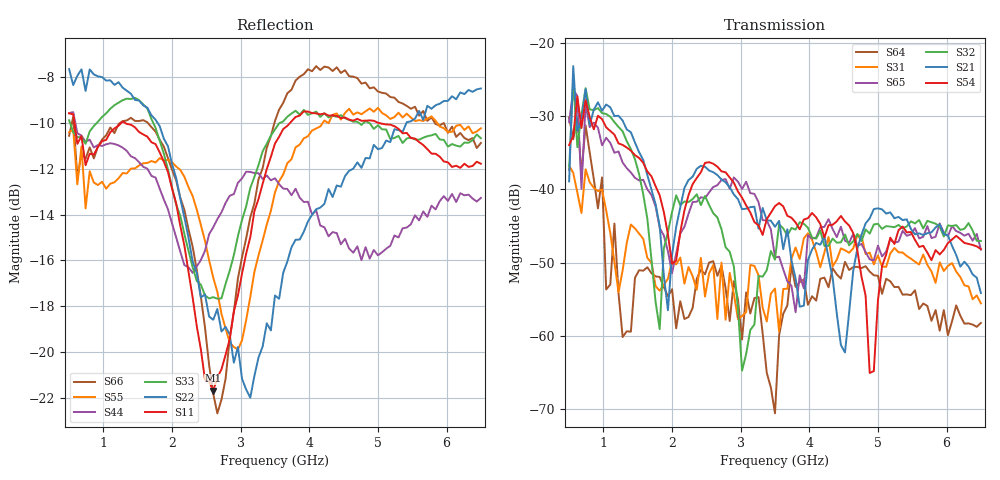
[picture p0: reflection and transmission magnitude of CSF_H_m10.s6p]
!Keysight Technologies,M9804A,MY58100912,A.14.10.03
!Date: Thursday, April 27, 2023 10:28:33
!Correction: S11(C  6-Port  )
!S12(C  6-Port  )
!S13(C  6-Port  )
!S14(C  6-Port  )
!S15(C  6-Port  )
!S16(C  6-Port  )
!S21(C  6-Port  )
!S22(C  6-Port  )
!S23(C  6-Port  )
!S24(C  6-Port  )
!S25(C  6-Port  )
!S26(C  6-Port  )
!S31(C  6-Port  )
!S32(C  6-Port  )
!S33(C  6-Port  )
!S34(C  6-Port  )
!S35(C  6-Port  )
!S36(C  6-Port  )
!S41(C  6-Port  )
!S42(C  6-Port  )
!S43(C  6-Port  )
!S44(C  6-Port  )
!S45(C  6-Port  )
!S46(C  6-Port  )
!S51(C  6-Port  )
!S52(C  6-Port  )
!S53(C  6-Port  )
!S54(C  6-Port  )
!S55(C  6-Port  )
!S56(C  6-Port  )
!S61(C  6-Port  )
!S62(C  6-Port  )
!S63(C  6-Port  )
!S64(C  6-Port  )
!S65(C  6-Port  )
!S66(C  6-Port  )
!S6P File: Measurement: :
# Hz S  RI  R 50
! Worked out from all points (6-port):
!   101 points, 500 MHz to 6.5 GHz, reference 50 ohm
!   strongest paths, dB at 500 MHz, 2 GHz, 3.5 GHz, 5 GHz, 6.5 GHz:
!     S54: -33.9, -50.2, -42.3, -55.2, -48.2
!     S21: -38.9, -48.9, -45.1, -42.6, -54.2
!     S32: -37.3, -43.1, -49.6, -44.7, -47.0
!     S65: -30.8, -51.4, -49.3, -47.7, -48.2
!     S31: -36.7, -49.8, -53.6, -49.0, -55.6
!     S64: -30.2, -53.7, -70.6, -51.8, -58.3
!   lowest |S11| = -21.7 dB at 2.6 GHz (marker M1), VSWR 1.18, Z = 42.7 + j2.03 ohm
!   |S11| at or under -10 dB: 577.7 MHz to 1.257 GHz (679.7 MHz wide, 74.1 % of centre); 1.32 GHz to 3.717 GHz (2.397 GHz wide, 95.2 % of centre); 5.019 GHz to end of sweep
